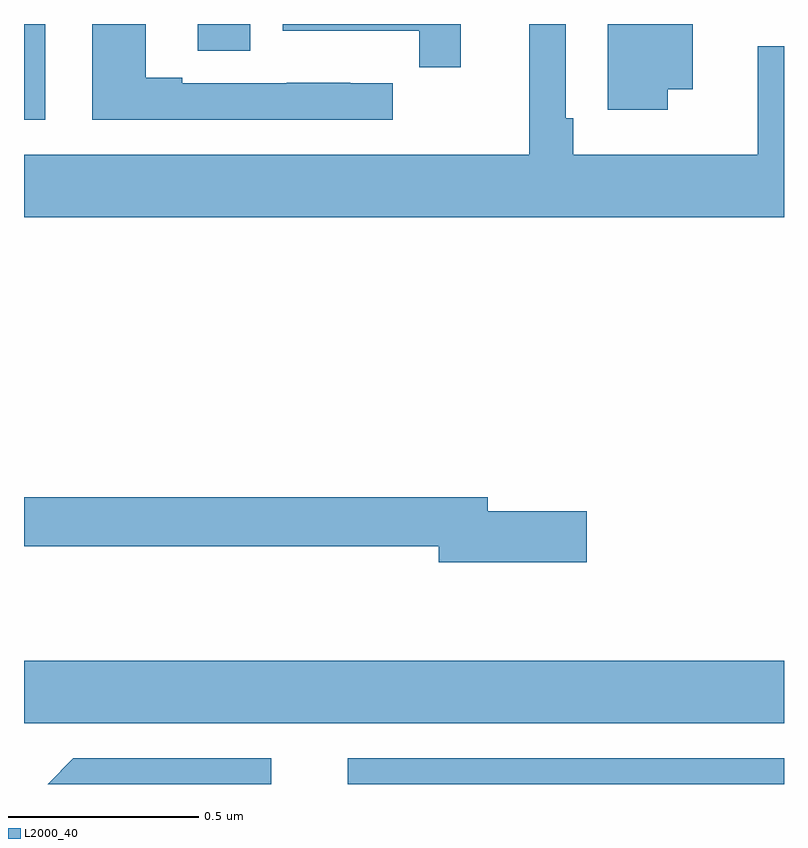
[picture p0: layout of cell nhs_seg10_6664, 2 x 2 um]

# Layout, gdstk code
import gdstk
lib = gdstk.Library(unit=1e-6, precision=1e-09)
def R(c, l, rs):  # rectangles x0, y0, x1, y1
    for r in rs: c.add(gdstk.rectangle(r[:2], r[2:], *l))
def P(c, l, *ps):  # polygons
    for p in ps: c.add(gdstk.Polygon(p, *l))
L2000_40 = (2000, 40)

nhs_seg10_6664 = lib.new_cell('nhs_seg10_6664')
R(nhs_seg10_6664, L2000_40, [(194.852,1289.5,196,1289.568), (194,1289.66,196,1289.824), (194,1291.248,194.056,1291.5), (194.457,1291.429,194.596,1291.5)])
P(nhs_seg10_6664, L2000_40, [(196,1291.441),(195.931,1291.441),(195.931,1291.156),(195.446,1291.156),(195.446,1291.252),(195.426,1291.252),(195.426,1291.5),(195.329,1291.5),(195.329,1291.156),(194,1291.156),(194,1290.992),(196,1290.992)],
  [(195.694,1291.328),(195.76,1291.328),(195.76,1291.5),(195.536,1291.5),(195.536,1291.275),(195.694,1291.275)],
  [(194.971,1291.344),(194.858,1291.344),(194.858,1291.345),(194.692,1291.345),(194.692,1291.344),(194.416,1291.344),(194.416,1291.359),(194.32,1291.359),(194.32,1291.5),(194.18,1291.5),(194.18,1291.248),(194.971,1291.248)],
  [(195.149,1291.5),(194.681,1291.5),(194.681,1291.482),(195.04,1291.482),(195.04,1291.386),(195.149,1291.386)],
  [(195.481,1290.218),(195.22,1290.218),(195.22,1290.254),(194,1290.254),(194,1290.126),(195.092,1290.126),(195.092,1290.083),(195.481,1290.083)],
  [(194.65,1289.568),(194.13,1289.568),(194.062,1289.5),(194.65,1289.5)])

lib.write_gds('nhs_seg10_6664.gds')
